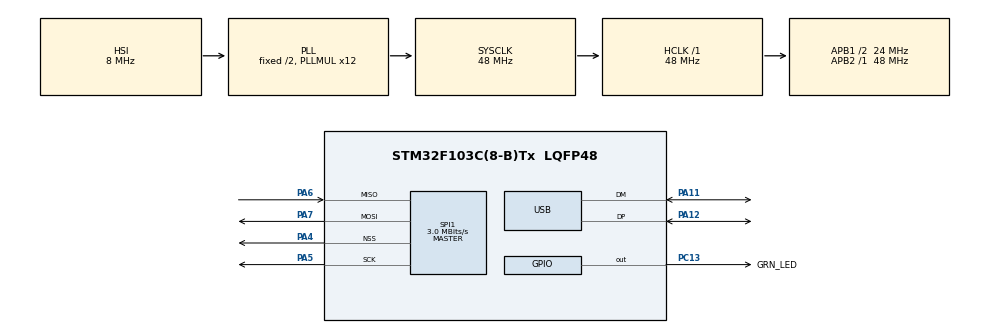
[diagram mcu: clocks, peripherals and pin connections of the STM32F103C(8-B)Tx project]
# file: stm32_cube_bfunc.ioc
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Mcu.Family=STM32F1
Mcu.Name=STM32F103C(8-B)Tx
Mcu.Package=LQFP48
NVIC.PriorityGroup=NVIC_PRIORITYGROUP_4
NVIC.USB_LP_CAN1_RX0_IRQn=true\:0\:0\:false\:false\:true\:false
PA11.Mode=Device
PA11.Signal=USB_DM
PA12.Mode=Device
PA12.Signal=USB_DP
PA13.Mode=Serial_Wire
PA13.Signal=SYS_JTMS-SWDIO
PA14.Mode=Serial_Wire
PA14.Signal=SYS_JTCK-SWCLK
PA4.GPIO_Mode=GPIO_MODE_AF_PP
PA4.Mode=NSS_Signal_Hard_Output
PA4.Signal=SPI1_NSS
PA5.Mode=Full_Duplex_Master
PA5.Signal=SPI1_SCK
PA6.Mode=Full_Duplex_Master
PA6.Signal=SPI1_MISO
PA7.Mode=Full_Duplex_Master
PA7.Signal=SPI1_MOSI
PC13-TAMPER-RTC.GPIO_Label=GRN_LED
PC13-TAMPER-RTC.PinState=GPIO_PIN_RESET
PC13-TAMPER-RTC.Signal=GPIO_Output
ProjectManager.HeapSize=0x200
ProjectManager.StackSize=0x400
ProjectManager.TargetToolchain=Makefile
RCC.AHBFreq_Value=48000000
RCC.APB1CLKDivider=RCC_HCLK_DIV2
RCC.APB1Freq_Value=24000000
RCC.APB1TimFreq_Value=48000000
RCC.APB2Freq_Value=48000000
RCC.APB2TimFreq_Value=48000000
RCC.HCLKFreq_Value=48000000
RCC.PLLMUL=RCC_PLL_MUL12
RCC.PLLSourceVirtualString=RCC_PLLSOURCE_HSI_DIV2
RCC.SYSCLKFreq_VALUE=48000000
RCC.SYSCLKSource=RCC_SYSCLKSOURCE_PLLCLK
RCC.USBFreq_Value=48000000
SPI1.BaudRatePrescaler=SPI_BAUDRATEPRESCALER_16
SPI1.CLKPolarity=SPI_POLARITY_HIGH
SPI1.CalculateBaudRate=3.0 MBits/s
SPI1.DataSize=SPI_DATASIZE_16BIT
SPI1.Direction=SPI_DIRECTION_2LINES
SPI1.Mode=SPI_MODE_MASTER
SPI1.VirtualNSS=VM_NSSHARD
SPI1.VirtualType=VM_MASTER
USB_DEVICE.CLASS_NAME_FS=CDC
USB_DEVICE.VirtualMode=Cdc
USB_DEVICE.VirtualModeFS=Cdc_FS
VP_TIM1_VS_ClockSourceINT.Mode=Internal
VP_USB_DEVICE_VS_USB_DEVICE_CDC_FS.Mode=CDC_FS
board=custom

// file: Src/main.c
/**
  ******************************************************************************
  * @file           : main.c
  * @brief          : Main program body
  ******************************************************************************
  * This notice applies to any and all portions of this file
  * that are not between comment pairs USER CODE BEGIN and
  * USER CODE END. Other portions of this file, whether
  * inserted by the user or by software development tools
  * are owned by their respective copyright owners.
  *
  * Copyright (c) 2020 STMicroelectronics International N.V.
  * All rights reserved.
  *
  * Redistribution and use in source and binary forms, with or without
  * modification, are permitted, provided that the following conditions are met:
  *
  * 1. Redistribution of source code must retain the above copyright notice,
  *    this list of conditions and the following disclaimer.
  * 2. Redistributions in binary form must reproduce the above copyright notice,
  *    this list of conditions and the following disclaimer in the documentation
  *    and/or other materials provided with the distribution.
  * 3. Neither the name of STMicroelectronics nor the names of other
  *    contributors to this software may be used to endorse or promote products
  *    derived from this software without specific written permission.
  * 4. This software, including modifications and/or derivative works of this
  *    software, must execute solely and exclusively on microcontroller or
  *    microprocessor devices manufactured by or for STMicroelectronics.
  * 5. Redistribution and use of this software other than as permitted under
  *    this license is void and will automatically terminate your rights under
  *    this license.
  *
  * THIS SOFTWARE IS PROVIDED BY STMICROELECTRONICS AND CONTRIBUTORS "AS IS"
  * AND ANY EXPRESS, IMPLIED OR STATUTORY WARRANTIES, INCLUDING, BUT NOT
  * LIMITED TO, THE IMPLIED WARRANTIES OF MERCHANTABILITY, FITNESS FOR A
  * PARTICULAR PURPOSE AND NON-INFRINGEMENT OF THIRD PARTY INTELLECTUAL PROPERTY
  * RIGHTS ARE DISCLAIMED TO THE FULLEST EXTENT PERMITTED BY LAW. IN NO EVENT
  * SHALL STMICROELECTRONICS OR CONTRIBUTORS BE LIABLE FOR ANY DIRECT, INDIRECT,
  * INCIDENTAL, SPECIAL, EXEMPLARY, OR CONSEQUENTIAL DAMAGES (INCLUDING, BUT NOT
  * LIMITED TO, PROCUREMENT OF SUBSTITUTE GOODS OR SERVICES; LOSS OF USE, DATA,
  * OR PROFITS; OR BUSINESS INTERRUPTION) HOWEVER CAUSED AND ON ANY THEORY OF
  * LIABILITY, WHETHER IN CONTRACT, STRICT LIABILITY, OR TORT (INCLUDING
  * NEGLIGENCE OR OTHERWISE) ARISING IN ANY WAY OUT OF THE USE OF THIS SOFTWARE,
  * EVEN IF ADVISED OF THE POSSIBILITY OF SUCH DAMAGE.
  *
  ******************************************************************************
  */
#include "main.h"
#include "stm32f1xx_hal.h"
#include "usb_device.h"
#include "usbd_cdc_if.h"

SPI_HandleTypeDef hspi1;

TIM_HandleTypeDef htim1;

/* USER CODE BEGIN PV */
/* Private variables ---------------------------------------------------------*/
enum states {
	IDLE,
	WFM_OUT_SINE,
	WFM_OUT_TRIANGLE,
	WFM_OUT_SQUARE,
	WFM_OUT_SAWTOOTH
};

enum waveform_modes {
	SINE,
	TRIANGLE,
	SQUARE,
	SAWTOOTH
};

struct ad9837_ctrl_reg {
	unsigned int reserved0	: 1;
	unsigned int mode		: 1;
	unsigned int reserved2	: 1;
	unsigned int div2		: 1;
	unsigned int reserved4	: 1;
	unsigned int opbiten	: 1;
	unsigned int sleep12	: 1;
	unsigned int sleep1		: 1;
	unsigned int reset		: 1;
	unsigned int reserved9	: 1;
	unsigned int psel		: 1;
	unsigned int fsel		: 1;
	unsigned int hlb		: 1;
	unsigned int b28		: 1;
	unsigned int freqreg	: 2;
};

struct ad9837_freq_reg {
	unsigned int freqset	: 14;
	unsigned int freqreg    : 2;
};

struct ad9837_phase_reg {
	unsigned int phaseset   : 12;
	unsigned int reserved   : 1;
	unsigned int phasereg   : 3;
};

union ad9837_dds_ctrl {
    struct ad9837_ctrl_reg reg;
    uint8_t data[2];
};

union ad9837_freq_set {
	struct ad9837_freq_reg reg;
	uint8_t data[2];
};

union ad9837_phase_set {
	struct ad9837_phase_reg reg;
	uint8_t data[2];
};
/* USER CODE END PV */

void SystemClock_Config(void);
static void MX_GPIO_Init(void);
static void MX_TIM1_Init(void);
static void MX_SPI1_Init(void);

/* USER CODE BEGIN PFP */
/* Private function prototypes -----------------------------------------------*/
void InitCtrlAD9837(union ad9837_dds_ctrl *dds_control);
void StartOutput(union ad9837_dds_ctrl *dds_control);
void StopOutput(union ad9837_dds_ctrl *dds_control);
void SetFreq0Value(uint32_t freq);
void SetFreq1Value(uint32_t freq);
void SetPhase0Value(uint16_t phase);
void SetPhase1Value(uint16_t phase);
void SetWaveformMode(enum   states			current_state,
					 union  ad9837_dds_ctrl *dds_control);
enum states NextState(enum states CurrentState);
/* USER CODE END PFP */

/* USER CODE BEGIN 0 */
void delay_us(unsigned int time)
{
	SysTick->LOAD = time;
	SysTick->VAL  = 0;
	while(!(SysTick->CTRL & SysTick_CTRL_COUNTFLAG_Msk));
}
/* USER CODE END 0 */

int main(void)
{

  /* MCU Configuration----------------------------------------------------------*/

  /* Reset of all peripherals, Initializes the Flash interface and the Systick. */
  HAL_Init();

  /* Configure the system clock */
  SystemClock_Config();

  /* Initialize all configured peripherals */
  MX_GPIO_Init();
  MX_TIM1_Init();
  MX_SPI1_Init();
  MX_USB_DEVICE_Init();
  /* USER CODE BEGIN 2 */
  // Following line included to enable SWD debug
  AFIO->MAPR = AFIO_MAPR_SWJ_CFG_JTAGDISABLE;
  /* USER CODE END 2 */

  /* Infinite loop */
  /* USER CODE BEGIN WHILE */
  enum states current_state = IDLE;
  union ad9837_dds_ctrl dds_control;

  InitCtrlAD9837(&dds_control);

  // Initializing AD9837 as per ADI App Note AN-1070
  SetFreq0Value(0x00002000);
  SetPhase0Value(0x00FF);

  uint8_t	*head_parse_target  = UserRxBufferFS;
  uint8_t	*tail_parse_target  = UserRxBufferFS;
  uint8_t   parse_buffer[64];

  uint8_t	usb_packet_flag		= 0;

  while (1)
  {
	GPIOC->BSRR = GPIO_BSRR_BS13;

	/*
	for (int i = 0; i < APP_RX_DATA_SIZE; i++) {
		if (UserRxBufferFS[i] == '@') {
			head_parse_target = &UserRxBufferFS[i];
		}
		if (UserRxBufferFS[i] == '\r') {
			tail_parse_target = &UserRxBufferFS[i];
			CDC_Transmit_FS(head_parse_target,
							(tail_parse_target-head_parse_target));
		}
	}
	*/

    if (usb_packet_flag) {
        switch(UserRxBufferFS[0]) {
            case 'q':
                current_state = WFM_OUT_SQUARE;
                break;
            case 's':
                current_state = WFM_OUT_SINE;
                break;
            case 't':
                current_state = WFM_OUT_TRIANGLE;
                break;
            case 'i':
                current_state = IDLE;
                break;
            default:
                break;
        }
        usb_packet_flag = 0;
    }

	delay_us(48000000);
	current_state = NextState(current_state);

	if (current_state == IDLE) {
		StopOutput(&dds_control);
	} else {
		SetWaveformMode(current_state, &dds_control);
		StartOutput(&dds_control);
	}

	GPIOC->BSRR = GPIO_BSRR_BR13;
	delay_us(48000000);
  /* USER CODE END WHILE */

  }

}

void SystemClock_Config(void)
{

  RCC_OscInitTypeDef RCC_OscInitStruct;
  RCC_ClkInitTypeDef RCC_ClkInitStruct;
  RCC_PeriphCLKInitTypeDef PeriphClkInit;

    /**Initializes the CPU, AHB and APB busses clocks
    */
  RCC_OscInitStruct.OscillatorType = RCC_OSCILLATORTYPE_HSI;
  RCC_OscInitStruct.HSIState = RCC_HSI_ON;
  RCC_OscInitStruct.HSICalibrationValue = 16;
  RCC_OscInitStruct.PLL.PLLState = RCC_PLL_ON;
  RCC_OscInitStruct.PLL.PLLSource = RCC_PLLSOURCE_HSI_DIV2;
  RCC_OscInitStruct.PLL.PLLMUL = RCC_PLL_MUL12;
  if (HAL_RCC_OscConfig(&RCC_OscInitStruct) != HAL_OK)
  {
    _Error_Handler(__FILE__, __LINE__);
  }

    /**Initializes the CPU, AHB and APB busses clocks
    */
  RCC_ClkInitStruct.ClockType = RCC_CLOCKTYPE_HCLK|RCC_CLOCKTYPE_SYSCLK
                              |RCC_CLOCKTYPE_PCLK1|RCC_CLOCKTYPE_PCLK2;
  RCC_ClkInitStruct.SYSCLKSource = RCC_SYSCLKSOURCE_PLLCLK;
  RCC_ClkInitStruct.AHBCLKDivider = RCC_SYSCLK_DIV1;
  RCC_ClkInitStruct.APB1CLKDivider = RCC_HCLK_DIV2;
  RCC_ClkInitStruct.APB2CLKDivider = RCC_HCLK_DIV1;

  if (HAL_RCC_ClockConfig(&RCC_ClkInitStruct, FLASH_LATENCY_1) != HAL_OK)
  {
    _Error_Handler(__FILE__, __LINE__);
  }

  PeriphClkInit.PeriphClockSelection = RCC_PERIPHCLK_USB;
  PeriphClkInit.UsbClockSelection = RCC_USBCLKSOURCE_PLL;
  if (HAL_RCCEx_PeriphCLKConfig(&PeriphClkInit) != HAL_OK)
  {
    _Error_Handler(__FILE__, __LINE__);
  }

    /**Configure the Systick interrupt time
    */
  HAL_SYSTICK_Config(HAL_RCC_GetHCLKFreq()/1000);

    /**Configure the Systick
    */
  HAL_SYSTICK_CLKSourceConfig(SYSTICK_CLKSOURCE_HCLK);

  /* SysTick_IRQn interrupt configuration */
  HAL_NVIC_SetPriority(SysTick_IRQn, 0, 0);
}

/* SPI1 init function */
static void MX_SPI1_Init(void)
{

  /* SPI1 parameter configuration*/
  hspi1.Instance = SPI1;
  hspi1.Init.Mode = SPI_MODE_MASTER;
  hspi1.Init.Direction = SPI_DIRECTION_2LINES;
  hspi1.Init.DataSize = SPI_DATASIZE_16BIT;
  hspi1.Init.CLKPolarity = SPI_POLARITY_HIGH;
  hspi1.Init.CLKPhase = SPI_PHASE_1EDGE;
  hspi1.Init.NSS = SPI_NSS_HARD_OUTPUT;
  hspi1.Init.BaudRatePrescaler = SPI_BAUDRATEPRESCALER_16;
  hspi1.Init.FirstBit = SPI_FIRSTBIT_MSB;
  hspi1.Init.TIMode = SPI_TIMODE_DISABLE;
  hspi1.Init.CRCCalculation = SPI_CRCCALCULATION_DISABLE;
  hspi1.Init.CRCPolynomial = 10;
  if (HAL_SPI_Init(&hspi1) != HAL_OK)
  {
    _Error_Handler(__FILE__, __LINE__);
  }

}

/* TIM1 init function */
static void MX_TIM1_Init(void)
{

  TIM_ClockConfigTypeDef sClockSourceConfig;
  TIM_MasterConfigTypeDef sMasterConfig;

  htim1.Instance = TIM1;
  htim1.Init.Prescaler = 0;
  htim1.Init.CounterMode = TIM_COUNTERMODE_UP;
  htim1.Init.Period = 0;
  htim1.Init.ClockDivision = TIM_CLOCKDIVISION_DIV1;
  htim1.Init.RepetitionCounter = 0;
  htim1.Init.AutoReloadPreload = TIM_AUTORELOAD_PRELOAD_DISABLE;
  if (HAL_TIM_Base_Init(&htim1) != HAL_OK)
  {
    _Error_Handler(__FILE__, __LINE__);
  }

  sClockSourceConfig.ClockSource = TIM_CLOCKSOURCE_INTERNAL;
  if (HAL_TIM_ConfigClockSource(&htim1, &sClockSourceConfig) != HAL_OK)
  {
    _Error_Handler(__FILE__, __LINE__);
  }

  sMasterConfig.MasterOutputTrigger = TIM_TRGO_RESET;
  sMasterConfig.MasterSlaveMode = TIM_MASTERSLAVEMODE_DISABLE;
  if (HAL_TIMEx_MasterConfigSynchronization(&htim1, &sMasterConfig) != HAL_OK)
  {
    _Error_Handler(__FILE__, __LINE__);
  }

}

/** Configure pins as
        * Analog
        * Input
        * Output
        * EVENT_OUT
        * EXTI
*/
static void MX_GPIO_Init(void)
{

  GPIO_InitTypeDef GPIO_InitStruct;

  /* GPIO Ports Clock Enable */
  __HAL_RCC_GPIOC_CLK_ENABLE();
  __HAL_RCC_GPIOA_CLK_ENABLE();

  /*Configure GPIO pin Output Level */
  HAL_GPIO_WritePin(GRN_LED_GPIO_Port, GRN_LED_Pin, GPIO_PIN_RESET);

  /*Configure GPIO pin : GRN_LED_Pin */
  GPIO_InitStruct.Pin = GRN_LED_Pin;
  GPIO_InitStruct.Mode = GPIO_MODE_OUTPUT_PP;
  GPIO_InitStruct.Pull = GPIO_NOPULL;
  GPIO_InitStruct.Speed = GPIO_SPEED_FREQ_LOW;
  HAL_GPIO_Init(GRN_LED_GPIO_Port, &GPIO_InitStruct);

}

/* USER CODE BEGIN 4 */
void InitCtrlAD9837(union ad9837_dds_ctrl *dds_control)
{
	dds_control->reg.freqreg	= 0;
	dds_control->reg.b28		= 1;
	dds_control->reg.hlb		= 0;
	dds_control->reg.fsel		= 0;
	dds_control->reg.psel		= 0;
	dds_control->reg.reserved9  = 0;
	dds_control->reg.reset		= 1;
	dds_control->reg.sleep1		= 0;
	dds_control->reg.sleep12    = 0;
	dds_control->reg.opbiten    = 0;
	dds_control->reg.reserved4  = 0;
	dds_control->reg.div2		= 0;
	dds_control->reg.reserved2  = 0;
	dds_control->reg.mode		= 0;
	dds_control->reg.reserved0  = 0;
}

void SetFreq0Value(uint32_t freq)
{
	union ad9837_freq_set freq0;
	freq0.reg.freqreg = 1;
	freq0.reg.freqset = (unsigned int)(freq & 0x00003fff);
	// Note: All SPI transactions are len=1, but
	// require a 2 byte input due to the peripheral being
	// in 16-bit output mode

	// Sets 14 LSBs of Freq0 register
	HAL_SPI_Transmit(&hspi1, freq0.data, 1, 10);
	// Sets 14 MSBs of Freq0 register
	freq0.reg.freqreg = 1;
	freq0.reg.freqset = (unsigned int)((freq & 0x0fffc000) >> 14);
	HAL_SPI_Transmit(&hspi1, freq0.data, 1, 10);
}

void SetFreq1Value(uint32_t freq)
{
	union ad9837_freq_set freq1;
	freq1.reg.freqreg = 2;
	freq1.reg.freqset = (unsigned int)(freq & 0x00003fff);
	// Note: All SPI transactions are len=1, but
	// require a 2 byte input due to the peripheral being
	// in 16-bit output mode

	// Sets 14 LSBs of Freq0 register
	HAL_SPI_Transmit(&hspi1, freq1.data, 1, 10);
	// Sets 14 MSBs of Freq0 register
	freq1.reg.freqreg = 1;
	freq1.reg.freqset = (unsigned int)((freq & 0x0fffc000) >> 14);
	HAL_SPI_Transmit(&hspi1, freq1.data, 1, 10);
}

void SetPhase0Value(uint16_t phase)
{
	union ad9837_phase_set phase0;
	phase0.reg.phasereg = 6; // Must be 0x6 (0b110) to set PHASEREG bit
	phase0.reg.reserved = 0;
	phase0.reg.phaseset = (phase & 0x0fff);
	HAL_SPI_Transmit(&hspi1, phase0.data, 1, 10);
}

void SetPhase1Value(uint16_t phase)
{
	union ad9837_phase_set phase1;
	phase1.reg.phasereg = 7; // Must be 0x7 (0b111) to set PHASEREG bit
	phase1.reg.reserved = 0;
	phase1.reg.phaseset = (phase & 0x0fff);
	HAL_SPI_Transmit(&hspi1, phase1.data, 1, 10);
}

void StartOutput(union ad9837_dds_ctrl *dds_control) {
	// Note: All SPI transactions are len=1, but
	// require a 2 byte input due to the peripheral being
	// in 16-bit output mode
	dds_control->reg.reset = 0;
	HAL_SPI_Transmit(&hspi1,
					 dds_control->data, 1, 10);
}

void StopOutput(union ad9837_dds_ctrl *dds_control)
{
	// Note: All SPI transactions are len=1, but
	// require a 2 byte input due to the peripheral being
	// in 16-bit output mode
	dds_control->reg.reset = 1;
	HAL_SPI_Transmit(&hspi1,
					 dds_control->data, 1, 10);
}

void SetWaveformMode(enum   states			current_state,
					 union  ad9837_dds_ctrl *dds_control)
{
	switch (current_state) {
		case WFM_OUT_SINE:
			// Clears OPBITEN and MODE bits
			dds_control->reg.opbiten = 0;
			dds_control->reg.mode    = 0;
			// Transmits new settings to DDS via SPI
			HAL_SPI_Transmit(&hspi1,
							 dds_control->data,
							 1,
							 10);
			break;
		case WFM_OUT_TRIANGLE:
			// Sets MODE bit; clears OPBITEN
			dds_control->reg.opbiten = 0;
			dds_control->reg.mode    = 1;
			// Transmits new settings to DDS via SPI
			HAL_SPI_Transmit(&hspi1,
							 dds_control->data,
							 1,
							 10);
			break;
		case WFM_OUT_SQUARE:
			// Sets OPBITEN;
			dds_control->reg.opbiten = 1;
			// Transmits new settings to DDS via SPI
			HAL_SPI_Transmit(&hspi1,
							 dds_control->data,
							 1,
							 10);
			break;
		default:
			break;
	}
}

enum states NextState(enum states CurrentState)
{
	switch (CurrentState) {
		case IDLE:
			return WFM_OUT_SINE;
			break;
		case WFM_OUT_SINE:
			return WFM_OUT_TRIANGLE;
			break;
		case WFM_OUT_TRIANGLE:
			return IDLE;
			break;
		default:
			return IDLE;
			break;
	}
}
/* USER CODE END 4 */

void _Error_Handler(char *file, int line)
{
  while(1)
  {
  }
}

/************************ (C) COPYRIGHT STMicroelectronics *****END OF FILE****/
